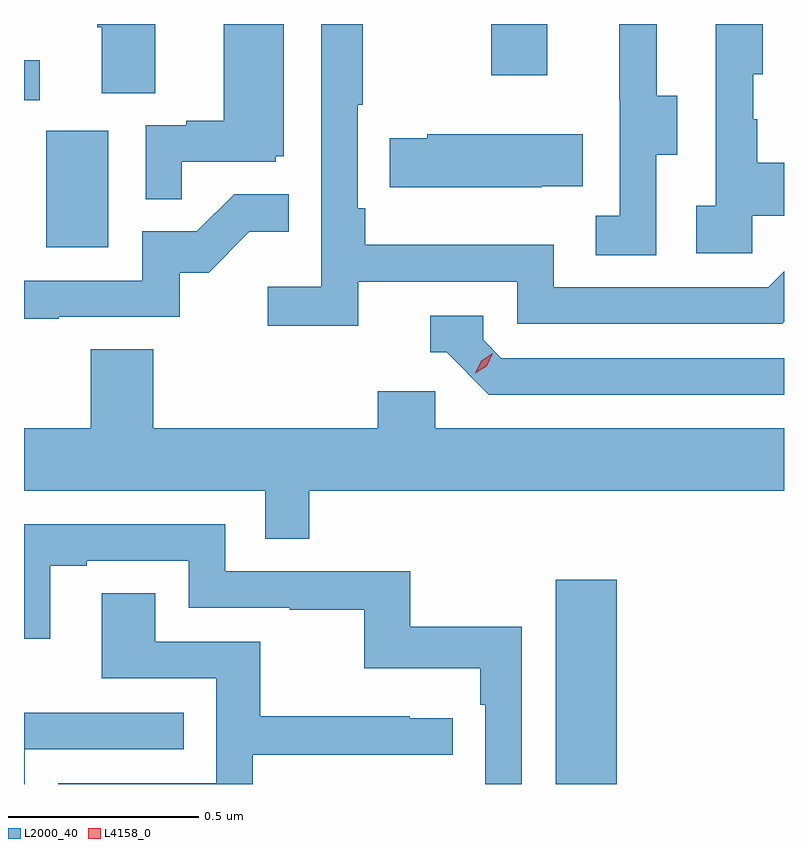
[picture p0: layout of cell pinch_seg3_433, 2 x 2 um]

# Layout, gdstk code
import gdstk
lib = gdstk.Library(unit=1e-6, precision=1e-09)
def R(c, l, rs):  # rectangles x0, y0, x1, y1
    for r in rs: c.add(gdstk.rectangle(r[:2], r[2:], *l))
def P(c, l, *ps):  # polygons
    for p in ps: c.add(gdstk.Polygon(p, *l))
L2000_40 = (2000, 40)
L4158_0 = (4158, 0)

pinch_seg3_433 = lib.new_cell('pinch_seg3_433')
R(pinch_seg3_433, L2000_40, [(914.135,702.808,914.296,703.345), (912.794,704.22,912.958,704.527), (912.736,704.607,912.778,704.713), (913.966,704.673,914.113,704.808)])
P(pinch_seg3_433, L2000_40, [(913.151,704.445),(913.398,704.445),(913.398,704.46),(913.42,704.46),(913.42,704.808),(913.262,704.808),(913.262,704.554),(913.163,704.554),(913.163,704.541),(913.056,704.541),(913.056,704.347),(913.151,704.347)],
  [(914.4,704.464),(914.455,704.464),(914.455,704.619),(914.401,704.619),(914.401,704.808),(914.303,704.808),(914.303,704.607),(914.304,704.607),(914.304,704.303),(914.241,704.303),(914.241,704.2),(914.4,704.2)],
  [(914.652,704.303),(914.736,704.303),(914.736,704.443),(914.665,704.443),(914.665,704.558),(914.655,704.558),(914.655,704.676),(914.68,704.676),(914.68,704.808),(914.556,704.808),(914.556,704.33),(914.505,704.33),(914.505,704.205),(914.652,704.205)],
  [(913.616,704.13),(914.034,704.13),(914.034,704.019),(914.731,704.019),(914.736,704.024),(914.736,704.157),(914.694,704.115),(914.13,704.115),(914.13,704.227),(913.634,704.227),(913.634,704.323),(913.614,704.323),(913.614,704.596),(913.627,704.596),(913.627,704.808),(913.518,704.808),(913.518,704.116),(913.377,704.116),(913.377,704.014),(913.616,704.014)],
  [(913.081,704.808),(912.929,704.808),(912.929,704.8),(912.941,704.8),(912.941,704.626),(913.081,704.626)],
  [(914.099,704.381),(914.207,704.381),(914.207,704.518),(913.797,704.518),(913.797,704.508),(913.699,704.508),(913.699,704.378),(914.099,704.378)],
  [(912.827,704.037),(913.146,704.037),(913.146,704.154),(913.222,704.154),(913.329,704.261),(913.433,704.261),(913.433,704.36),(913.289,704.36),(913.191,704.262),(913.047,704.262),(913.047,704.133),(912.736,704.133),(912.736,704.032),(912.827,704.032)],
  [(914.736,703.929),(913.992,703.929),(913.944,703.977),(913.944,704.04),(913.805,704.04),(913.805,703.944),(913.848,703.944),(913.959,703.833),(914.736,703.833)],
  [(913.487,703.58),(914.736,703.58),(914.736,703.744),(913.818,703.744),(913.818,703.842),(913.667,703.842),(913.667,703.744),(913.076,703.744),(913.076,703.952),(912.911,703.952),(912.911,703.744),(912.736,703.744),(912.736,703.58),(913.371,703.58),(913.371,703.453),(913.487,703.453)],
  [(914.046,703.222),(913.753,703.222),(913.753,703.368),(913.266,703.368),(913.266,703.491),(912.736,703.491),(912.736,703.19),(912.805,703.19),(912.805,703.383),(912.901,703.383),(912.901,703.395),(913.17,703.395),(913.17,703.272),(913.435,703.272),(913.435,703.267),(913.632,703.267),(913.632,703.112),(913.937,703.112),(913.937,703.016),(913.95,703.016),(913.95,702.808),(914.046,702.808)],
  [(913.338,702.885),(913.864,702.885),(913.864,702.981),(913.751,702.981),(913.751,702.986),(913.358,702.986),(913.358,703.182),(913.081,703.182),(913.081,703.31),(912.941,703.31),(912.941,703.086),(913.242,703.086),(913.242,702.81),(912.826,702.81),(912.826,702.808),(913.338,702.808)],
  [(912.738,702.9),(913.157,702.9),(913.157,702.996),(912.736,702.996),(912.736,702.808),(912.738,702.808)])
P(pinch_seg3_433, L4158_0, [(913.923,703.889),(913.923,703.889),(913.939,703.922),(913.97,703.941),(913.97,703.941),(913.97,703.941),(913.954,703.908),(913.923,703.889)])

lib.write_gds('pinch_seg3_433.gds')
